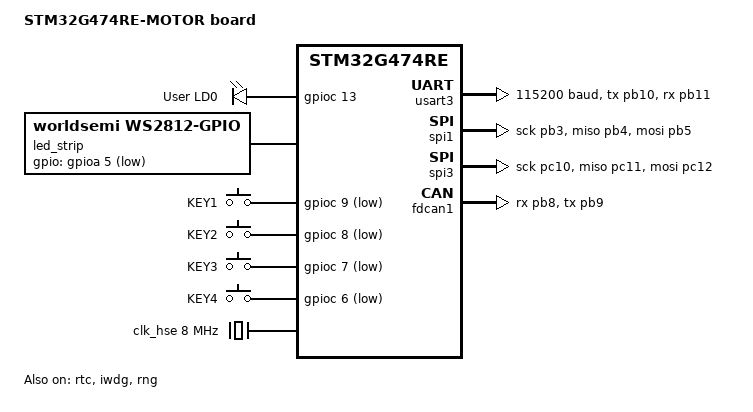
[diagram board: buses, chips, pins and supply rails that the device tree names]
/*
 * Copyright (c) 2019 STMicroelectronics.
 *
 * SPDX-License-Identifier: Apache-2.0
 */

/dts-v1/;
#include <st/g4/stm32g474Xe.dtsi>
#include <st/g4/stm32g474r(b-c-e)tx-pinctrl.dtsi>
#include <zephyr/dt-bindings/input/input-event-codes.h>
#include <zephyr/dt-bindings/led/led.h>

/ {
	model = "STM32G474RE-MOTOR board";
	compatible = "st,stm32g474re-motor";

	chosen {
		zephyr,console = &usart3;
		zephyr,shell-uart = &usart3;
		zephyr,sram = &sram0;
		zephyr,flash = &flash0;
		zephyr,canbus = &fdcan1;
		zephyr,code-partition = &slot0_partition;
	};

	aliases {
		led-strip = &led_strip;
		led0 = &led0;
	};

	leds: leds {
		compatible = "gpio-leds";

		led0: led_0 {
			gpios = <&gpioc 13 GPIO_ACTIVE_HIGH>;
			label = "User LD0";
		};
	};


	led_strip: ws2812 {
		compatible = "worldsemi,ws2812-gpio";
		chain-length = <1>;
		color-mapping = <LED_COLOR_ID_GREEN
							LED_COLOR_ID_RED
							LED_COLOR_ID_BLUE>;
		gpios = <&gpioa 5 GPIO_ACTIVE_LOW>;
		status = "okay";
	};
	// pwmleds {
	// 	compatible = "pwm-leds";

	// 	green_pwm_led: green_pwm_led {
	// 		pwms = <&pwm2 1 PWM_MSEC(20) PWM_POLARITY_NORMAL>;
	// 	};
	// };

	gpio_keys {
		compatible = "gpio-keys";

		key1: key_1 {
			label = "KEY1";
			gpios = <&gpioc 9 GPIO_ACTIVE_LOW>;
			zephyr,code = <INPUT_KEY_1>;
		};
		key2: key_2 {
			label = "KEY2";
			gpios = <&gpioc 8 GPIO_ACTIVE_LOW>;
			zephyr,code = <INPUT_KEY_2>;
		};
		key3: key_3 {
			label = "KEY3";
			gpios = <&gpioc 7 GPIO_ACTIVE_LOW>;
			zephyr,code = <INPUT_KEY_3>;
		};
		key4: key_4 {
			label = "KEY4";
			gpios = <&gpioc 6 GPIO_ACTIVE_LOW>;
			zephyr,code = <INPUT_KEY_4>;
		};
	};
};

&clk_lsi {
	status = "okay";
};

&clk_hsi48 {
	status = "okay";
};

&clk_hse {
	clock-frequency = <DT_FREQ_M(8)>;
	status = "okay";
};

&pll {
	div-m = <2>;
	mul-n = <85>;
	div-p = <2>;
	div-q = <2>;
	div-r = <2>;
	clocks = <&clk_hse>;
	status = "okay";
};

&rcc {
	clocks = <&pll>;
	clock-frequency = <DT_FREQ_M(170)>;
	ahb-prescaler = <1>;
	apb1-prescaler = <8>;
	apb2-prescaler = <1>;
};

// &usart1 {
// 	pinctrl-0 = <&usart1_tx_pc4 &usart1_rx_pc5>;
// 	pinctrl-names = "default";
// 	current-speed = <115200>;
// 	status = "okay";
// };

// &lpuart1 {
// 	pinctrl-0 = <&lpuart1_tx_pb11 &lpuart1_rx_pb10>;
	// pinctrl-1 = <&analog_pb11 &analog_pb10>;
// 	pinctrl-names = "default";
// 	current-speed = <115200>;
// 	status = "okay";
// };

&usart3 {
	pinctrl-0 = <&usart3_tx_pb10 &usart3_rx_pb11>;
	pinctrl-names = "default";
	current-speed = <115200>;
	status = "okay";
};

// &i2c1 {
// 	pinctrl-0 = <&i2c1_scl_pb8 &i2c1_sda_pb9>;
// 	pinctrl-names = "default";
// 	status = "okay";
// };

&spi1 {
	pinctrl-0 = <&spi1_sck_pb3 &spi1_miso_pb4 &spi1_mosi_pb5>;
	pinctrl-names = "default";
	cs-gpios = <&gpiod 2 (GPIO_ACTIVE_LOW | GPIO_PULL_UP)>;
	status = "okay";
};

// &spi2 {
// 	pinctrl-0 = <&spi2_nss_pb12 &spi2_sck_pb13
// 		     &spi2_miso_pb14 &spi2_mosi_pb15>;
// 	pinctrl-names = "default";
// 	status = "okay";
// };

&spi3 {
	/* SPI3 on the ST Morpho Connector CN7 pins 17, 1, 2, 3*/
	pinctrl-0 = <&spi3_sck_pc10 &spi3_miso_pc11 &spi3_mosi_pc12>;
	pinctrl-names = "default";
	status = "okay";
};

// &timers2 {
// 	status = "okay";

// 	pwm2: pwm {
// 		status = "okay";
// 		pinctrl-0 = <&tim2_ch1_pa5>;
// 		pinctrl-names = "default";
// 	};
// };

// &timers3 {
// 	st,prescaler = <10000>;
// 	status = "okay";

// 	pwm3: pwm {
// 		status = "okay";
// 		pinctrl-0 = <&tim3_ch1_pb4>;
// 		pinctrl-names = "default";
// 	};
// };

// stm32_lp_tick_source: &lptim1 {
// 	clocks = <&rcc STM32_CLOCK(APB1, 31)>,
// 		 <&rcc STM32_SRC_LSI LPTIM1_SEL(1)>;
// 	status = "okay";
// };

&rtc {
	clocks = <&rcc STM32_CLOCK(APB1, 10)>,
		 <&rcc STM32_SRC_LSI RTC_SEL(2)>;
	status = "okay";
};

&flash0 {
	partitions {
		compatible = "fixed-partitions";
		#address-cells = <1>;
		#size-cells = <1>;

		boot_partition: partition@0 {
			label = "mcuboot";
			reg = <0x00000000 DT_SIZE_K(34)>;
		};

		slot0_partition: partition@8800 {
			label = "image-0";
			reg = <0x00008800 DT_SIZE_K(256)>;
		};

		slot1_partition: partition@48800 {
			label = "image-1";
			reg = <0x00048800 DT_SIZE_K(218)>;
		};

		/* Set 4Kb of storage at the end of the 512Kb of flash */
		storage_partition: partition@7f000 {
			label = "storage";
			reg = <0x0007f000 DT_SIZE_K(4)>;
		};
	};
};

&iwdg {
	status = "okay";
};

&rng {
	status = "okay";
};

// &adc1 {
// 	pinctrl-0 = <&adc1_in1_pa0>;
// 	pinctrl-names = "default";
// 	st,adc-clock-source = "SYNC";
// 	st,adc-prescaler = <4>;
// 	status = "okay";
// };

// &die_temp {
// 	status = "okay";
// };

// &dac1 {
// 	pinctrl-0 = <&dac1_out1_pa4>;
// 	pinctrl-names = "default";
// 	status = "okay";
// };

&fdcan1 {
	clocks = <&rcc STM32_CLOCK(APB1, 8)>,
		 <&rcc STM32_SRC_HSE FDCAN_SEL(2)>;
	pinctrl-0 = <&fdcan1_rx_pb8 &fdcan1_tx_pb9>;
	pinctrl-names = "default";
	status = "okay";
};

// &vref {
// 	status = "okay";
// };

// &vbat {
// 	status = "okay";
// };

